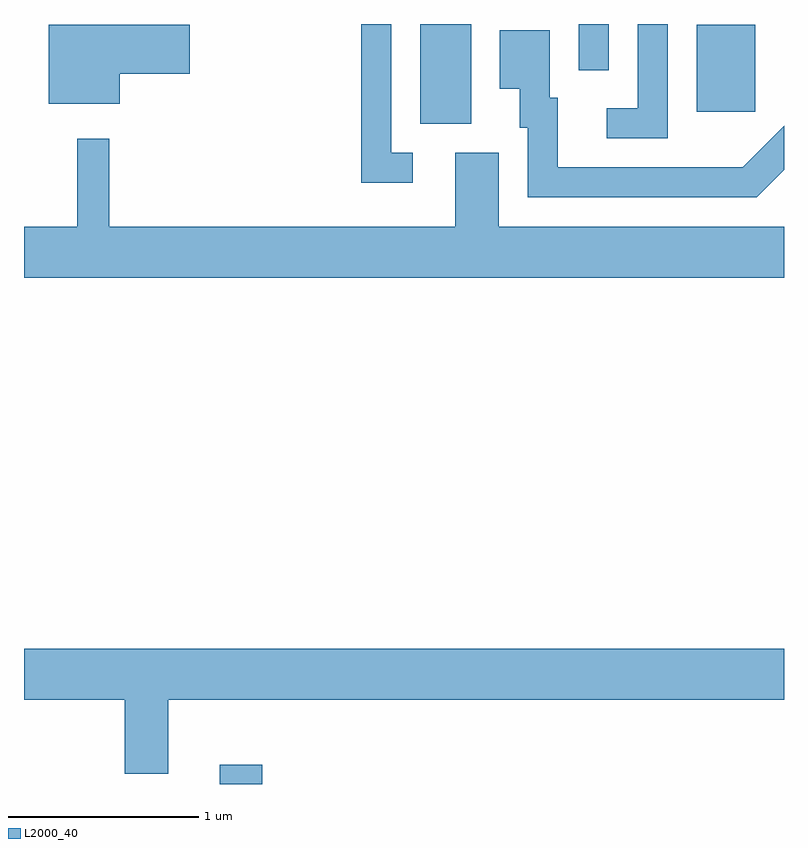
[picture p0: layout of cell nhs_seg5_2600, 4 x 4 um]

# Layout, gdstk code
import gdstk
lib = gdstk.Library(unit=1e-6, precision=1e-09)
def R(c, l, rs):  # rectangles x0, y0, x1, y1
    for r in rs: c.add(gdstk.rectangle(r[:2], r[2:], *l))
def P(c, l, *ps):  # polygons
    for p in ps: c.add(gdstk.Polygon(p, *l))
L2000_40 = (2000, 40)

nhs_seg5_2600 = lib.new_cell('nhs_seg5_2600')
R(nhs_seg5_2600, L2000_40, [(262.641,1514.072,262.864,1514.174), (263.696,1517.546,263.964,1518.072), (265.151,1517.611,265.459,1518.069), (264.531,1517.828,264.689,1518.072)])
P(nhs_seg5_2600, L2000_40, [(263.658,1517.394),(263.544,1517.394),(263.544,1518.072),(263.386,1518.072),(263.386,1517.236),(263.658,1517.236)],
  [(264.999,1518.072),(264.841,1518.072),(264.841,1517.629),(264.678,1517.629),(264.678,1517.471),(264.999,1517.471)],
  [(262.114,1517.811),(262.484,1517.811),(262.484,1518.069),(261.741,1518.069),(261.741,1517.651),(262.114,1517.651)],
  [(265.611,1517.305),(265.611,1517.537),(265.394,1517.319),(264.419,1517.319),(264.419,1517.684),(264.379,1517.684),(264.379,1518.039),(264.116,1518.039),(264.116,1517.731),(264.221,1517.731),(264.221,1517.526),(264.261,1517.526),(264.261,1517.161),(265.467,1517.161)],
  [(265.611,1517.004),(264.109,1517.004),(264.109,1517.394),(263.881,1517.394),(263.881,1517.004),(262.059,1517.004),(262.059,1517.468),(261.891,1517.468),(261.891,1517.004),(261.611,1517.004),(261.611,1516.736),(265.611,1516.736)],
  [(262.369,1514.516),(265.611,1514.516),(265.611,1514.784),(261.611,1514.784),(261.611,1514.516),(262.141,1514.516),(262.141,1514.126),(262.369,1514.126)])

lib.write_gds('nhs_seg5_2600.gds')
